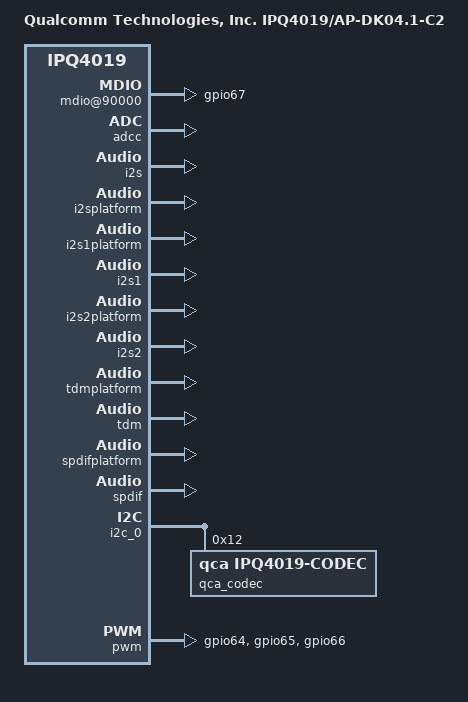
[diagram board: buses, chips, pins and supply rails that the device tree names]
/* Copyright (c) 2015 - 2016, The Linux Foundation. All rights reserved.
 *
 * Permission to use, copy, modify, and/or distribute this software for any
 * purpose with or without fee is hereby granted, provided that the above
 * copyright notice and this permission notice appear in all copies.
 *
 * THE SOFTWARE IS PROVIDED "AS IS" AND THE AUTHOR DISCLAIMS ALL WARRANTIES
 * WITH REGARD TO THIS SOFTWARE INCLUDING ALL IMPLIED WARRANTIES OF
 * MERCHANTABILITY AND FITNESS. IN NO EVENT SHALL THE AUTHOR BE LIABLE FOR
 * ANY SPECIAL, DIRECT, INDIRECT, OR CONSEQUENTIAL DAMAGES OR ANY DAMAGES
 * WHATSOEVER RESULTING FROM LOSS OF USE, DATA OR PROFITS, WHETHER IN AN
 * ACTION OF CONTRACT, NEGLIGENCE OR OTHER TORTIOUS ACTION, ARISING OUT OF
 * OR IN CONNECTION WITH THE USE OR PERFORMANCE OF THIS SOFTWARE.
 *
 */

#include "qcom-ipq4019-ap.dk04.1.dtsi"
#include "qcom-ipq4019-audio.dtsi"

/ {
	model = "Qualcomm Technologies, Inc. IPQ4019/AP-DK04.1-C2";

	soc {
		pinctrl@0x01000000 {
			audio_gpio_pins: audio_gpio_pinmux {
				mux_1 {
					pins = "gpio53";
					function = "gpio";
					output-high;
				};

				mux_2 {
					pins = "gpio54";
					function = "gpio";
					output-high;
				};

				mux_3 {
					pins = "gpio55";
					function = "gpio";
					output-high;
				};

				mux_4 {
					pins = "gpio56";
					function = "gpio";
					output-high;
				};

				mux_5 {
					pins = "gpio52";
					function = "gpio";
					output-high;
				};

				mux_6 {
					pins = "gpio57";
					function = "gpio";
					output-high;
				};

				mux_7 {
					pins = "gpio63";
					function = "gpio";
					output-high;
				};

				mux_8 {
					pins = "gpio58";
					function = "gpio";
					output-high;
				};

				mux_9 {
					pins = "gpio60";
					function = "gpio";
					output-high;
				};

				mux_10 {
					pins = "gpio61";
					function = "gpio";
					output-high;
				};

				mux_11 {
					pins = "gpio59";
					function = "gpio";
					output-high;
				};

				mux_12 {
					pins = "gpio62";
					function = "gpio";
					output-high;
				};
			};

			audio_pins: audio_pinmux {
				mux_1 {
					pins = "gpio53";
					function = "i2s_tx_bclk";
				};

				mux_2 {
					pins = "gpio54";
					function = "i2s_td1";
				};

				mux_3 {
					pins = "gpio55";
					function = "i2s_td2";
				};

				mux_4 {
					pins = "gpio56";
					function = "i2s_td3";
				};

				mux_5 {
					pins = "gpio52";
					function = "i2s_tx_mclk";
				};

				mux_6 {
					pins = "gpio57";
					function = "i2s_tx_fsync";
				};

				mux_7 {
					pins = "gpio63";
					function = "i2s_rxd";
				};

				mux_8 {
					pins = "gpio58";
					function = "i2s_rx_mclk";
				};

				mux_9 {
					pins = "gpio60";
					function = "i2s_rx_bclk";
				};

				mux_10 {
					pins = "gpio61";
					function = "i2s_rx_fsync";
				};

				mux_11 {
					pins = "gpio59";
					function = "i2s_spdif_in";
				};

				mux_12 {
					pins = "gpio62";
					function = "i2s_spdif_out";
				};

			};

			pwm_pins: pwm_pinmux {
				mux_1 {
					pins = "gpio64";
					function = "audio_pwm0";
				};

				mux_2 {
					pins = "gpio65";
					function = "audio_pwm1";
				};

				mux_3 {
					pins = "gpio66";
					function = "audio_pwm2";
				};
			};

			voip_pins: voip_pinmux {
				mux_1 {
					pins = "gpio48", "gpio49",
						"gpio50", "gpio51";
					function = "aud_pin";
				};
			};

			mdio_pins: mdio_pinmux {
				mux_3 {
					pins = "gpio67";
					function = "gpio";
				};
			};
		};

		mdio@90000 {
			status = "ok";
			pinctrl-0 = <&mdio_pins>;
			pinctrl-names = "default";
			phy-reset-gpio = <&tlmm 67 0>;
			bias-disable;
		};

		adcc: clock-controller@7700038 {
			status = "ok";
		};

		audio: audio@7700000 {
			status = "ok";
		};

		mbox0: mbox@7708000 {
			status = "ok";
		};

		mbox1: mbox@770a000 {
			status = "ok";
		};

		mbox2: mbox@770c000 {
			status = "ok";
		};

		mbox3: mbox@770e000 {
			status = "ok";
		};

		mbox4: mbox@7706000 {
			status = "ok";
		};

		stereo0: stereo@7709000 {
			status = "ok";
		};

		stereo1: stereo@770b000 {
			status = "ok";
		};

		stereo2: stereo@770d000 {
			status = "ok";
		};

		stereo3: stereo@770f000 {
			status = "ok";
		};

		/* Enable Audio Interfaces */
		i2s: ipq4019-pcm-i2s@0 {
			status = "ok";
		};

		i2splatform: qca-pcm-i2s@7709000 {
			status = "ok";
		};

		i2s1platform: qca-pcm-i2s1@770b000 {
			status = "ok";
		};

		i2s1: ipq4019-pcm-i2s1@0 {
			status = "ok";
		};

		i2s2platform: qca-pcm-i2s2@770d000 {
			status = "ok";
		};

		i2s2: ipq4019-pcm-i2s2@0 {
			status = "ok";
		};

		tdmplatform: qca-pcm-tdm@7709000 {
			status = "ok";
		};

		tdm: tdm@0 {
			status = "ok";
		};

		spdifplatform: qca-pcm-spdif@7707000 {
			status = "ok";
		};

		spdif: spdif@0 {
			status = "ok";
		};

		sound: sound@0 {
			pinctrl-0 = <&audio_gpio_pins>;
			pinctrl-1 = <&audio_pins>;
			pinctrl-names = "default", "audio";
			status = "ok";
		};

		i2c_0: i2c@78b7000 {
			status = "ok";

			qca_codec: qca_codec@12 {
				compatible = "qca,ipq4019-codec";
				reg = <0x12>;
				status = "ok";
			};
		};

		/* Enable VOIP Interfaces */
		pcm: pcm@7704000 {
			status = "ok";
			pinctrl-0 = <&voip_pins>;
			pinctrl-names = "default";
		};

		pcm_lb: pcm_lb@0 {
			status = "ok";
		};

		pwm {
			pinctrl-0 = <&pwm_pins>;
			pinctrl-names = "default";
			used-pwm-indices = <1>, <1>, <1>, <0>;
			status = "ok";
		};
	};
};
